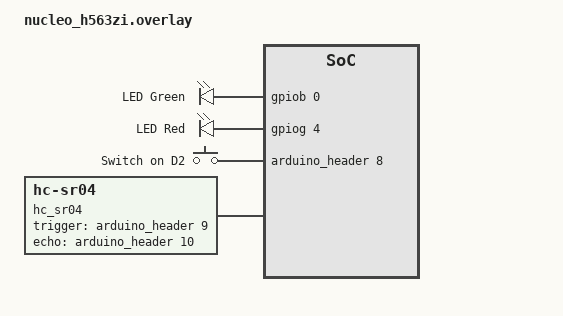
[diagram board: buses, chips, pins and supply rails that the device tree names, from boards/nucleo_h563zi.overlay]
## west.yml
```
manifest:
  remotes:
    - name: zephyrproject-rtos
      url-base: https://github.com/zephyrproject-rtos
  projects:
    - name: zephyr
      remote: zephyrproject-rtos
      revision: v4.4.0
      import: true
  self:
    path: OnOffSonic
```

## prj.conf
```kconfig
CONFIG_GPIO=y
CONFIG_SENSOR=y
CONFIG_HC_SR04=y
CONFIG_CBPRINTF_FP_SUPPORT=y
```

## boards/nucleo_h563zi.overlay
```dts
/ {
	aliases {
		led-green = &led_green;
		led-red   = &led_red;
		sw0       = &toggle_switch;
	};

	leds {
		compatible = "gpio-leds";
		led_green: led_1 {
			gpios = <&gpiob 0 GPIO_ACTIVE_HIGH>;  /* Onboard Green LED */
			label = "LED Green";
		};
		led_red: led_2 {
			gpios = <&gpiog 4 GPIO_ACTIVE_HIGH>;  /* Onboard Red LED */
			label = "LED Red";
		};
	};

	buttons {
		compatible = "gpio-keys";
		toggle_switch: switch_1 {
			gpios = <&arduino_header 8 GPIO_ACTIVE_HIGH>; /* Pin D2 */
			label = "Switch on D2";
		};
	};

	/* HC-SR04 uses D3 as a trigger pulse output and D4 as the echo input, so the firmware can measure distance by timing the returning pulse. */
	hc_sr04: hc-sr04 {
		compatible = "hc-sr04"; 
		trigger-gpios = <&arduino_header 9 GPIO_ACTIVE_HIGH>; 
		echo-gpios = <&arduino_header 10 GPIO_ACTIVE_HIGH>;
		status = "okay";
	};
};
```

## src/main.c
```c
#include <zephyr/kernel.h>
#include <zephyr/drivers/gpio.h>
#include <zephyr/drivers/sensor.h>
#include <zephyr/sys/printk.h>

/*
 * Physical wiring (see boards/nucleo_h563zi.overlay for the DT side):
 *   led_green -> onboard LD1, PB0
 *   led_red   -> onboard LD3, PG4
 *   sw0       -> SPDT toggle switch, common pin on D2, throws on 3V3/GND
 *   hc_sr04   -> TRIG on D3, ECHO on D4 (via 1k/2k divider down to 3.3V)
 */
static const struct gpio_dt_spec led_green =
	GPIO_DT_SPEC_GET(DT_ALIAS(led_green), gpios);

static const struct gpio_dt_spec led_red =
	GPIO_DT_SPEC_GET(DT_ALIAS(led_red), gpios);

static const struct gpio_dt_spec switch_pin =
	GPIO_DT_SPEC_GET(DT_ALIAS(sw0), gpios);

static const struct device *const sensor =
	DEVICE_DT_GET(DT_NODELABEL(hc_sr04));

int main(void)
{
	struct sensor_value distance;

	if (!gpio_is_ready_dt(&led_green) ||
	    !gpio_is_ready_dt(&led_red) ||
	    !gpio_is_ready_dt(&switch_pin)) {
		printk("ERROR: GPIO setup failed\n");
		return -1;
	}

	if (!device_is_ready(sensor)) {
		printk("ERROR: HC-SR04 driver not ready\n");
		return -1;
	}

	gpio_pin_configure_dt(&led_green, GPIO_OUTPUT_INACTIVE);
	gpio_pin_configure_dt(&led_red, GPIO_OUTPUT_ACTIVE);
	gpio_pin_configure_dt(&switch_pin, GPIO_INPUT);

	printk("\n");
	printk("*** OnOffSonic ***\n");
	printk("System Initialized Successfully!\n");
	printk("HC-SR04 driver ready.\n");

	while (1) {

		int state = gpio_pin_get_dt(&switch_pin);

		if (state > 0) {
			/* SYSTEM ON */
			gpio_pin_set_dt(&led_green, 1);
			gpio_pin_set_dt(&led_red, 0);

			int ret = sensor_sample_fetch(sensor);

			if (ret == 0) {
				ret = sensor_channel_get(
					sensor,
					SENSOR_CHAN_DISTANCE,
					&distance);

				if (ret == 0) {
					printk("Distance: %d.%06d m\n",
					       distance.val1,
					       distance.val2);
				} else {
					printk("Distance channel error: %d\n", ret);
				}
			} else {
				printk("Sensor measurement error: %d\n", ret);
			}

			k_msleep(500);

		} else {
			/* SYSTEM OFF */
			gpio_pin_set_dt(&led_green, 0);
			gpio_pin_set_dt(&led_red, 1);

			k_msleep(100);
		}
	}
}
```
